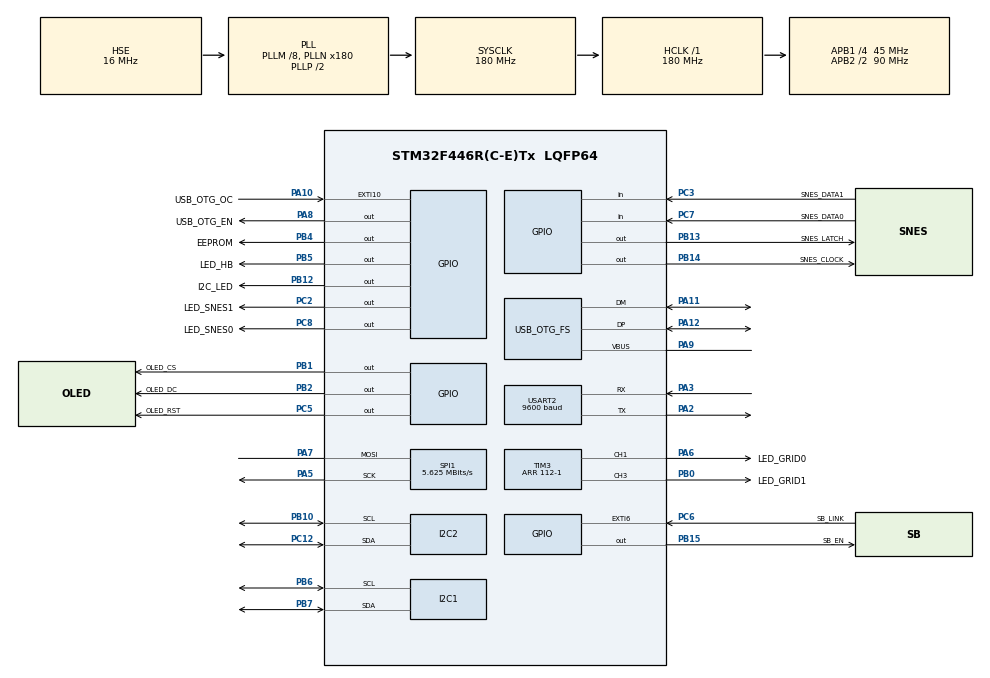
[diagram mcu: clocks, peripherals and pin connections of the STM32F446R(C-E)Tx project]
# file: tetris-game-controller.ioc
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Dma.Request0=TIM3_CH1/TRIG
Dma.Request1=TIM3_CH3
Dma.TIM3_CH1/TRIG.0.Direction=DMA_MEMORY_TO_PERIPH
Dma.TIM3_CH1/TRIG.0.FIFOMode=DMA_FIFOMODE_DISABLE
Dma.TIM3_CH1/TRIG.0.Instance=DMA1_Stream4
Dma.TIM3_CH1/TRIG.0.MemDataAlignment=DMA_MDATAALIGN_HALFWORD
Dma.TIM3_CH1/TRIG.0.MemInc=DMA_MINC_ENABLE
Dma.TIM3_CH1/TRIG.0.Mode=DMA_NORMAL
Dma.TIM3_CH1/TRIG.0.PeriphDataAlignment=DMA_PDATAALIGN_HALFWORD
Dma.TIM3_CH1/TRIG.0.PeriphInc=DMA_PINC_DISABLE
Dma.TIM3_CH1/TRIG.0.Priority=DMA_PRIORITY_HIGH
Dma.TIM3_CH3.1.Direction=DMA_MEMORY_TO_PERIPH
Dma.TIM3_CH3.1.FIFOMode=DMA_FIFOMODE_DISABLE
Dma.TIM3_CH3.1.Instance=DMA1_Stream7
Dma.TIM3_CH3.1.MemDataAlignment=DMA_MDATAALIGN_HALFWORD
Dma.TIM3_CH3.1.MemInc=DMA_MINC_ENABLE
Dma.TIM3_CH3.1.Mode=DMA_NORMAL
Dma.TIM3_CH3.1.PeriphDataAlignment=DMA_PDATAALIGN_HALFWORD
Dma.TIM3_CH3.1.PeriphInc=DMA_PINC_DISABLE
Dma.TIM3_CH3.1.Priority=DMA_PRIORITY_HIGH
I2C2.I2C_Mode=I2C_Fast
I2C2.OwnAddress=0x10
Mcu.Family=STM32F4
Mcu.Name=STM32F446R(C-E)Tx
Mcu.Package=LQFP64
NVIC.DMA1_Stream4_IRQn=true\:0\:0\:false\:false\:true\:false\:true\:true
NVIC.DMA1_Stream7_IRQn=true\:0\:0\:false\:false\:true\:false\:true\:true
NVIC.EXTI15_10_IRQn=true\:0\:0\:false\:false\:true\:true\:true\:true
NVIC.EXTI9_5_IRQn=true\:0\:0\:false\:false\:true\:true\:true\:true
NVIC.I2C2_ER_IRQn=true\:0\:0\:false\:false\:true\:true\:true\:true
NVIC.I2C2_EV_IRQn=true\:0\:0\:false\:false\:true\:true\:true\:true
NVIC.PriorityGroup=NVIC_PRIORITYGROUP_4
NVIC.TIM4_IRQn=true\:15\:0\:false\:false\:true\:false\:true\:true
NVIC.TIM8_UP_TIM13_IRQn=true\:0\:0\:false\:false\:true\:true\:true\:true
NVIC.TimeBase=TIM4_IRQn
NVIC.TimeBaseIP=TIM4
NVIC.USART2_IRQn=true\:0\:0\:false\:false\:true\:true\:true\:true
PA10.GPIO_Label=USB_OTG_OC
PA10.GPIO_ModeDefaultEXTI=GPIO_MODE_IT_FALLING
PA10.Signal=GPXTI10
PA11.Mode=Host_Only
PA11.Signal=USB_OTG_FS_DM
PA12.Mode=Host_Only
PA12.Signal=USB_OTG_FS_DP
PA13.Mode=Trace_Asynchronous_SW
PA13.Signal=SYS_JTMS-SWDIO
PA14.Mode=Trace_Asynchronous_SW
PA14.Signal=SYS_JTCK-SWCLK
PA2.Mode=Asynchronous
PA2.Signal=USART2_TX
PA3.Mode=Asynchronous
PA3.Signal=USART2_RX
PA5.Mode=Simplex_Bidirectional_Master
PA5.Signal=SPI1_SCK
PA6.GPIO_Label=LED_GRID0
PA6.Signal=S_TIM3_CH1
PA7.Mode=Simplex_Bidirectional_Master
PA7.Signal=SPI1_MOSI
PA8.GPIO_Label=USB_OTG_EN
PA8.GPIO_ModeDefaultOutputPP=GPIO_MODE_OUTPUT_OD
PA8.GPIO_PuPd=GPIO_NOPULL
PA8.Signal=GPIO_Output
PA9.Mode=Activate_VBUS
PA9.Signal=USB_OTG_FS_VBUS
PB0.GPIO_Label=LED_GRID1
PB0.Signal=S_TIM3_CH3
PB1.GPIO_Label=OLED_CS
PB1.Signal=GPIO_Output
PB10.GPIO_Pu=GPIO_PULLUP
PB10.Mode=I2C
PB10.Signal=I2C2_SCL
PB12.GPIO_Label=I2C_LED
PB12.GPIO_ModeDefaultOutputPP=GPIO_MODE_OUTPUT_OD
PB12.GPIO_PuPd=GPIO_NOPULL
PB12.GPIO_Speed=GPIO_SPEED_FREQ_HIGH
PB12.PinState=GPIO_PIN_SET
PB12.Signal=GPIO_Output
PB13.GPIO_Label=SNES_LATCH
PB13.GPIO_ModeDefaultOutputPP=GPIO_MODE_OUTPUT_OD
PB13.GPIO_PuPd=GPIO_PULLUP
PB13.Signal=GPIO_Output
PB14.GPIO_Label=SNES_CLOCK
PB14.GPIO_ModeDefaultOutputPP=GPIO_MODE_OUTPUT_OD
PB14.GPIO_PuPd=GPIO_PULLUP
PB14.PinState=GPIO_PIN_SET
PB14.Signal=GPIO_Output
PB15.GPIO_Label=SB_EN
PB15.PinState=GPIO_PIN_SET
PB15.Signal=GPIO_Output
PB2.GPIO_Label=OLED_DC
PB2.Signal=GPIO_Output
PB3.Mode=Trace_Asynchronous_SW
PB3.Signal=SYS_JTDO-SWO
PB4.GPIO_Label=EEPROM
PB4.Signal=GPIO_Output
PB5.GPIO_Label=LED_HB
PB5.Signal=GPIO_Output
PB6.Mode=I2C
PB6.Signal=I2C1_SCL
PB7.Mode=I2C
PB7.Signal=I2C1_SDA
PC12.GPIO_Pu=GPIO_PULLUP
PC12.Mode=I2C
PC12.Signal=I2C2_SDA
PC14-OSC32_IN.Mode=LSE-External-Oscillator
PC14-OSC32_IN.Signal=RCC_OSC32_IN
PC15-OSC32_OUT.Mode=LSE-External-Oscillator
PC15-OSC32_OUT.Signal=RCC_OSC32_OUT
PC2.GPIO_Label=LED_SNES1
PC2.Signal=GPIO_Output
PC3.GPIO_Label=SNES_DATA1
PC3.GPIO_PuPd=GPIO_PULLDOWN
PC3.Signal=GPIO_Input
PC5.GPIO_Label=OLED_RST
PC5.Signal=GPIO_Output
PC6.GPIO_Label=SB_LINK
PC6.GPIO_ModeDefaultEXTI=GPIO_MODE_IT_RISING_FALLING
PC6.Signal=GPXTI6
PC7.GPIO_Label=SNES_DATA0
PC7.GPIO_PuPd=GPIO_PULLDOWN
PC7.Signal=GPIO_Input
PC8.GPIO_Label=LED_SNES0
PC8.Signal=GPIO_Output
PH0-OSC_IN.Mode=HSE-External-Oscillator
PH0-OSC_IN.Signal=RCC_OSC_IN
PH1-OSC_OUT.Mode=HSE-External-Oscillator
PH1-OSC_OUT.Signal=RCC_OSC_OUT
ProjectManager.HeapSize=0x1000
ProjectManager.StackSize=0x400
ProjectManager.TargetToolchain=STM32CubeIDE
RCC.AHBFreq_Value=180000000
RCC.APB1CLKDivider=RCC_HCLK_DIV4
RCC.APB1Freq_Value=45000000
RCC.APB1TimFreq_Value=90000000
RCC.APB2CLKDivider=RCC_HCLK_DIV2
RCC.APB2Freq_Value=90000000
RCC.APB2TimFreq_Value=180000000
RCC.CortexFreq_Value=180000000
RCC.HCLKFreq_Value=180000000
RCC.HSE_VALUE=16000000
RCC.PLLM=8
RCC.PLLN=180
RCC.PLLQ=7
RCC.PLLSAIP=RCC_PLLSAIP_DIV4
RCC.RCC_RTC_Clock_SourceVirtual=RCC_RTCCLKSOURCE_LSE
RCC.SYSCLKFreq_VALUE=180000000
RCC.SYSCLKSource=RCC_SYSCLKSOURCE_PLLCLK
RCC.USBCLockSelection=RCC_CLK48CLKSOURCE_PLLSAIP
RCC.USBFreq_Value=48000000
RCC.VCOOutputFreq_Value=360000000
SH.S_TIM3_CH1.0=TIM3_CH1,PWM Generation1 CH1
SH.S_TIM3_CH3.0=TIM3_CH3,PWM Generation3 CH3
SPI1.BaudRatePrescaler=SPI_BAUDRATEPRESCALER_16
SPI1.CLKPhase=SPI_PHASE_1EDGE
SPI1.CLKPolarity=SPI_POLARITY_HIGH
SPI1.CalculateBaudRate=5.625 MBits/s
SPI1.Direction=SPI_DIRECTION_1LINE
SPI1.Mode=SPI_MODE_MASTER
SPI1.VirtualType=VM_MASTER
TIM1.Prescaler=168-1
TIM13.Period=410-1
TIM13.Prescaler=9000-1
TIM2.Prescaler=90-1
TIM3.Channel-PWM\ Generation1\ CH1=TIM_CHANNEL_1
TIM3.Channel-PWM\ Generation3\ CH3=TIM_CHANNEL_3
TIM3.Period=112-1
TIM5.Prescaler=90-1
USART2.BaudRate=9600
USART2.Mode=MODE_RX
USART2.VirtualMode=VM_ASYNC
USB_OTG_FS.VirtualMode=Host_Only
USB_OTG_FS.phy_itface=HCD_PHY_EMBEDDED
VP_RTC_VS_RTC_Activate.Mode=RTC_Enabled
VP_SYS_VS_tim4.Mode=TIM4
VP_TIM13_VS_ClockSourceINT.Mode=Enable_Timer
VP_TIM1_VS_ClockSourceINT.Mode=Internal
VP_TIM2_VS_ClockSourceINT.Mode=Internal
VP_TIM3_VS_ClockSourceINT.Mode=Internal
VP_TIM5_VS_ClockSourceINT.Mode=Internal
board=custom

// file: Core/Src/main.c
/* USER CODE BEGIN Header */
/**
 ******************************************************************************
 * @file           : main.c
 * @brief          : Main program body
 ******************************************************************************
 * @attention
 *
 * Copyright (c) 2024 STMicroelectronics.
 * All rights reserved.
 *
 * This software is licensed under terms that can be found in the LICENSE file
 * in the root directory of this software component.
 * If no LICENSE file comes with this software, it is provided AS-IS.
 *
 ******************************************************************************
 */
/* USER CODE END Header */
#include "main.h"
#include "dma.h"
#include "i2c.h"
#include "rtc.h"
#include "spi.h"
#include "tim.h"
#include "usart.h"
#include "usb_otg.h"
#include "gpio.h"

/* USER CODE BEGIN Includes */
#include "ws2812.h"
#include "game_loop.h"
#include "itm_debug.h"

/* USER CODE END Includes */

/* USER CODE BEGIN PV */
extern led_t led;
/* USER CODE END PV */

void SystemClock_Config(void);

int main(void) {

    /* MCU Configuration--------------------------------------------------------*/

    /* Reset of all peripherals, Initializes the Flash interface and the Systick. */
    HAL_Init();

    /* Configure the system clock */
    SystemClock_Config();

    /* Initialize all configured peripherals */
    MX_GPIO_Init();
    MX_DMA_Init();
    MX_I2C1_Init();
    MX_RTC_Init();
    MX_SPI1_Init();
    MX_TIM1_Init();
    MX_TIM2_Init();
    MX_TIM3_Init();
    MX_TIM5_Init();
    MX_USART2_UART_Init();
    MX_TIM13_Init();
    MX_I2C2_Init();
    MX_USB_OTG_FS_HCD_Init();
    /* USER CODE BEGIN 2 */

    HAL_TIM_Base_Start_IT(&htim2);
#if DEBUG_OUTPUT
    printf("Starting default task\nInitializing game variables and states\n");
#endif
    game_init();
    /* Infinite loop */
#if DEBUG_OUTPUT
    printf("Entering game loop\n");
#endif

    game_loop();

    /* We should never get here as control is now taken by the game_loop */
    /* USER CODE END 2 */

    /* Infinite loop */
    while (1) {

    }
}

void SystemClock_Config(void) {
    RCC_OscInitTypeDef RCC_OscInitStruct = { 0 };
    RCC_ClkInitTypeDef RCC_ClkInitStruct = { 0 };

    /** Configure the main internal regulator output voltage
     */
    __HAL_RCC_PWR_CLK_ENABLE();
    __HAL_PWR_VOLTAGESCALING_CONFIG(PWR_REGULATOR_VOLTAGE_SCALE1);

    /** Initializes the RCC Oscillators according to the specified parameters
     * in the RCC_OscInitTypeDef structure.
     */
    RCC_OscInitStruct.OscillatorType = RCC_OSCILLATORTYPE_HSE | RCC_OSCILLATORTYPE_LSE;
    RCC_OscInitStruct.HSEState = RCC_HSE_ON;
    RCC_OscInitStruct.LSEState = RCC_LSE_ON;
    RCC_OscInitStruct.PLL.PLLState = RCC_PLL_ON;
    RCC_OscInitStruct.PLL.PLLSource = RCC_PLLSOURCE_HSE;
    RCC_OscInitStruct.PLL.PLLM = 8;
    RCC_OscInitStruct.PLL.PLLN = 180;
    RCC_OscInitStruct.PLL.PLLP = RCC_PLLP_DIV2;
    RCC_OscInitStruct.PLL.PLLQ = 7;
    RCC_OscInitStruct.PLL.PLLR = 2;
    if (HAL_RCC_OscConfig(&RCC_OscInitStruct) != HAL_OK) {
        Error_Handler();
    }

    /** Activate the Over-Drive mode
     */
    if (HAL_PWREx_EnableOverDrive() != HAL_OK) {
        Error_Handler();
    }

    /** Initializes the CPU, AHB and APB buses clocks
     */
    RCC_ClkInitStruct.ClockType = RCC_CLOCKTYPE_HCLK | RCC_CLOCKTYPE_SYSCLK | RCC_CLOCKTYPE_PCLK1
            | RCC_CLOCKTYPE_PCLK2;
    RCC_ClkInitStruct.SYSCLKSource = RCC_SYSCLKSOURCE_PLLCLK;
    RCC_ClkInitStruct.AHBCLKDivider = RCC_SYSCLK_DIV1;
    RCC_ClkInitStruct.APB1CLKDivider = RCC_HCLK_DIV4;
    RCC_ClkInitStruct.APB2CLKDivider = RCC_HCLK_DIV2;

    if (HAL_RCC_ClockConfig(&RCC_ClkInitStruct, FLASH_LATENCY_5) != HAL_OK) {
        Error_Handler();
    }
}

/* USER CODE BEGIN 4 */
void HAL_TIM_PWM_PulseFinishedCallback(TIM_HandleTypeDef *htim) {
    HAL_TIM_PWM_Stop_DMA(&htim3, TIM_CHANNEL_1);
    led.data_sent_flag = 1;
}
/* USER CODE END 4 */

void HAL_TIM_PeriodElapsedCallback(TIM_HandleTypeDef *htim) {
    if (htim->Instance == TIM4) {
        HAL_IncTick();
    }
}

void Error_Handler(void) {
    __disable_irq();
    while (1) {
    }
}
